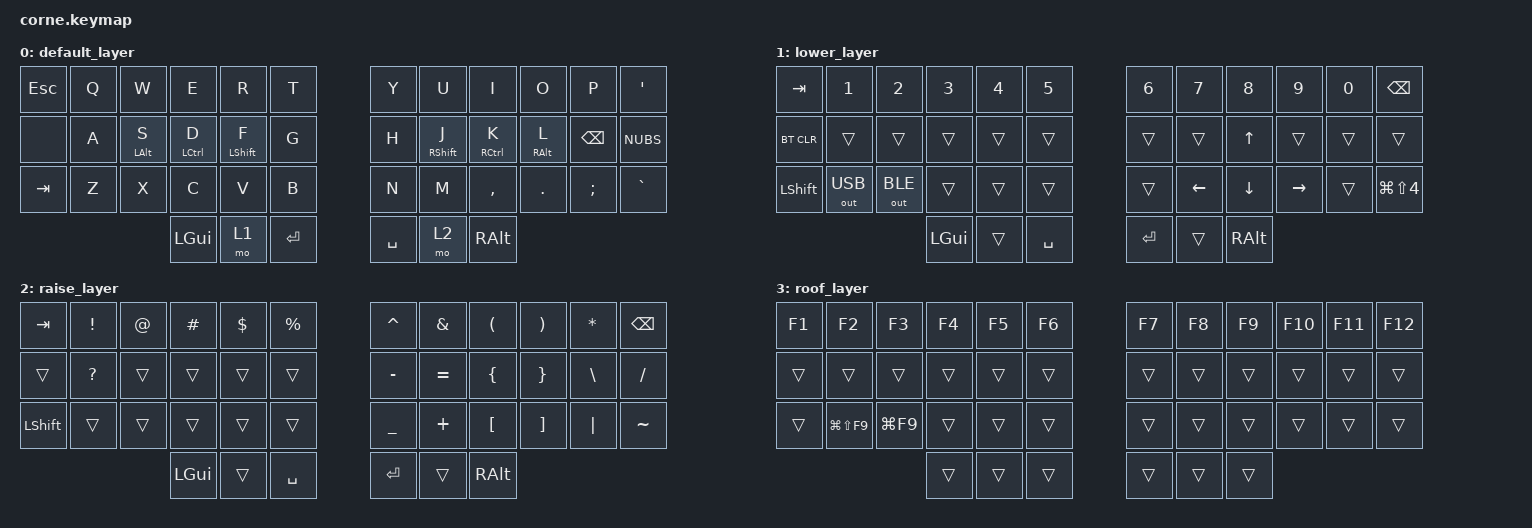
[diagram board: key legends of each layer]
/*
 * Copyright (c) 2020 The ZMK Contributors
 *
 * SPDX-License-Identifier: MIT
 */

#include <behaviors.dtsi>
#include <dt-bindings/zmk/bt.h>
#include <dt-bindings/zmk/keys.h>
#include <dt-bindings/zmk/outputs.h>

/ {
    behaviors {
        hold_tap: hold_tap {
            compatible = "zmk,behavior-hold-tap";
            label = "HOLD_TAP";
            bindings = <&kp>, <&kp>;

            #binding-cells = <2>;
            tapping-term-ms = <200>;
            quick-tap-ms = <200>;
            flavor = "tap-preferred";
        };
    };

    keymap {
        compatible = "zmk,keymap";
        label = "Gustavo's Corne";

        default_layer {
            // -----------------------------------------------------------------------------------------
            // |  TAB |  Q  |  W  |  E  |  R  |  T  |   |  Y  |  U   |  I  |  O  |  P  | ' |
            // | CTRL |  A  |  S  |  D  |  F  |  G  |   |  H  |  J   |  K  |  L  |  BSPC  | ´ |
            // | SHFT |  Z  |  X  |  C  |  V  |  B  |   |  N  |  M   |  ,  |  .  |  ;  | ESC  |
            //                    | GUI | LWR | ENT |   | SPC | RSE  | ALT |

            bindings = <
&kp ESCAPE  &kp Q  &kp W                 &kp E              &kp R                   &kp T      &kp Y      &kp U                    &kp I              &kp O                  &kp P     &kp SINGLE_QUOTE
&none       &kp A  &hold_tap LEFT_ALT S  &hold_tap LCTRL D  &hold_tap LEFT_SHIFT F  &kp G      &kp H      &hold_tap RIGHT_SHIFT J  &hold_tap RCTRL K  &hold_tap RIGHT_ALT L  &kp BSPC  &kp NUBS
&kp TAB     &kp Z  &kp X                 &kp C              &kp V                   &kp B      &kp N      &kp M                    &kp COMMA          &kp DOT                &kp SEMI  &kp GRAVE
                                         &kp LGUI           &mo 1                   &kp RET    &kp SPACE  &mo 2                    &kp RALT
            >;
        };

        lower_layer {
            // -----------------------------------------------------------------------------------------
            // |  TAB |  1  |  2  |  3  |  4  |  5  |   |  6  |  7  |  8  |  9  |  0  | BSPC |
            // | BTCLR| BT1 | BT2 | BT3 | BT4 | BT5 |   | LFT | DWN |  UP | RGT |     |   `   |
            // | SHFT | OUT_USB | OUT_BLE |     |     |     |   |     |     |     |     |     |      |
            //                    | GUI |     | SPC |   | ENT |     | ALT |

            bindings = <
&kp TAB     &kp N1        &kp N2        &kp N3    &kp N4  &kp N5       &kp N6   &kp N7    &kp N8    &kp N9     &kp N0  &kp BSPC
&bt BT_CLR  &trans        &trans        &trans    &trans  &trans       &trans   &trans    &kp UP    &trans     &trans  &trans
&kp LSHFT   &out OUT_USB  &out OUT_BLE  &trans    &trans  &trans       &trans   &kp LEFT  &kp DOWN  &kp RIGHT  &trans  &kp LG(LS(N4))
                                        &kp LGUI  &trans  &kp SPACE    &kp RET  &trans    &kp RALT
            >;
        };

        raise_layer {
            // -----------------------------------------------------------------------------------------
            // |  TAB |  !  |  @  |  #  |  $  |  %  |   |  ^  |  &  |  (  |  )  |  *  | BSPC |
            // | CTRL |     |     |     |     |     |   |  -  |  =  |  [  |  ]  |  \  |  /   |
            // | SHFT |     |     |     |     |     |   |  _  |  +  |  {  |  }  | "|" |  ~   |
            //                    | GUI |     | SPC |   | ENT |     | ALT |

            bindings = <
&kp TAB    &kp EXCL      &kp AT  &kp HASH  &kp DLLR  &kp PRCNT    &kp CARET  &kp AMPS   &kp LPAR  &kp RPAR  &kp ASTRK  &kp BSPC
&trans     &kp QUESTION  &trans  &trans    &trans    &trans       &kp MINUS  &kp EQUAL  &kp LBRC  &kp RBRC  &kp BSLH   &kp FSLH
&kp LSHFT  &trans        &trans  &trans    &trans    &trans       &kp UNDER  &kp PLUS   &kp LBKT  &kp RBKT  &kp PIPE   &kp TILDE
                                 &kp LGUI  &trans    &kp SPACE    &kp RET    &trans     &kp RALT
            >;
        };

        roof_layer {
            bindings = <
&kp F1  &kp F2          &kp F3      &kp F4  &kp F5  &kp F6    &kp F7  &kp F8  &kp F9  &kp F10  &kp F11  &kp F12
&trans  &trans          &trans      &trans  &trans  &trans    &trans  &trans  &trans  &trans   &trans   &trans
&trans  &kp LG(LS(F9))  &kp LG(F9)  &trans  &trans  &trans    &trans  &trans  &trans  &trans   &trans   &trans
                                    &trans  &trans  &trans    &trans  &trans  &trans
            >;
        };
    };

    conditional_layers {
        compatible = "zmk,conditional-layers";

        Activate_Roof {
            if-layers = <1 2>;
            then-layer = <3>;
        };
    };
};
